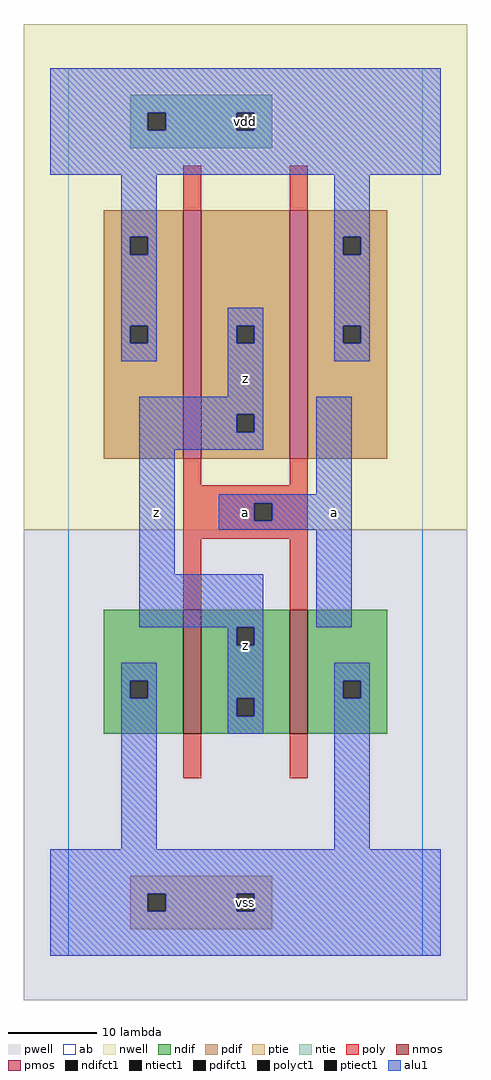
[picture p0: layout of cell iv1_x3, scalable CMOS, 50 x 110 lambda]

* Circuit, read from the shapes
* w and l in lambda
.subckt iv1_x3 a vdd vss z
M1 z a vss vss nfet w=14 l=2 m=2
M2 z a vdd vdd pfet w=28 l=2 m=2
.ends

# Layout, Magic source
magic
tech scmos
<< ab >>
rect 0 0 40 100
<< nwell >>
rect -5 48 45 105
<< pwell >>
rect -5 -5 45 48
<< poly >>
rect 13 84 15 89
rect 25 84 27 89
rect 13 53 15 56
rect 25 53 27 56
rect 13 51 27 53
rect 13 49 21 51
rect 23 49 27 51
rect 13 47 27 49
rect 13 39 15 47
rect 25 39 27 47
rect 13 20 15 25
rect 25 20 27 25
<< ndif >>
rect 4 31 13 39
rect 4 29 7 31
rect 9 29 13 31
rect 4 25 13 29
rect 15 37 25 39
rect 15 35 19 37
rect 21 35 25 37
rect 15 29 25 35
rect 15 27 19 29
rect 21 27 25 29
rect 15 25 25 27
rect 27 31 36 39
rect 27 29 31 31
rect 33 29 36 31
rect 27 25 36 29
<< pdif >>
rect 4 81 13 84
rect 4 79 7 81
rect 9 79 13 81
rect 4 71 13 79
rect 4 69 7 71
rect 9 69 13 71
rect 4 56 13 69
rect 15 71 25 84
rect 15 69 19 71
rect 21 69 25 71
rect 15 61 25 69
rect 15 59 19 61
rect 21 59 25 61
rect 15 56 25 59
rect 27 81 36 84
rect 27 79 31 81
rect 33 79 36 81
rect 27 71 36 79
rect 27 69 31 71
rect 33 69 36 71
rect 27 56 36 69
<< alu1 >>
rect -2 95 42 100
rect -2 93 9 95
rect 11 93 19 95
rect 21 93 42 95
rect -2 88 42 93
rect 6 81 10 88
rect 6 79 7 81
rect 9 79 10 81
rect 6 71 10 79
rect 30 81 34 88
rect 30 79 31 81
rect 33 79 34 81
rect 6 69 7 71
rect 9 69 10 71
rect 6 67 10 69
rect 18 71 22 73
rect 18 69 19 71
rect 21 69 22 71
rect 18 63 22 69
rect 30 71 34 79
rect 30 69 31 71
rect 33 69 34 71
rect 30 67 34 69
rect 8 61 22 63
rect 8 59 19 61
rect 21 59 22 61
rect 8 57 22 59
rect 8 43 12 57
rect 28 52 32 63
rect 17 51 32 52
rect 17 49 21 51
rect 23 49 32 51
rect 17 48 32 49
rect 8 37 22 43
rect 28 37 32 48
rect 18 35 19 37
rect 21 35 22 37
rect 6 31 10 33
rect 6 29 7 31
rect 9 29 10 31
rect 6 12 10 29
rect 18 29 22 35
rect 18 27 19 29
rect 21 27 22 29
rect 18 25 22 27
rect 30 31 34 33
rect 30 29 31 31
rect 33 29 34 31
rect 30 12 34 29
rect -2 7 42 12
rect -2 5 9 7
rect 11 5 19 7
rect 21 5 42 7
rect -2 0 42 5
<< ptie >>
rect 7 7 23 9
rect 7 5 9 7
rect 11 5 19 7
rect 21 5 23 7
rect 7 3 23 5
<< ntie >>
rect 7 95 23 97
rect 7 93 9 95
rect 11 93 19 95
rect 21 93 23 95
rect 7 91 23 93
<< nmos >>
rect 13 25 15 39
rect 25 25 27 39
<< pmos >>
rect 13 56 15 84
rect 25 56 27 84
<< polyct1 >>
rect 21 49 23 51
<< ndifct1 >>
rect 7 29 9 31
rect 19 35 21 37
rect 19 27 21 29
rect 31 29 33 31
<< ntiect1 >>
rect 9 93 11 95
rect 19 93 21 95
<< ptiect1 >>
rect 9 5 11 7
rect 19 5 21 7
<< pdifct1 >>
rect 7 79 9 81
rect 7 69 9 71
rect 19 69 21 71
rect 19 59 21 61
rect 31 79 33 81
rect 31 69 33 71
<< labels >>
rlabel alu1 10 50 10 50 6 z
rlabel ptiect1 20 6 20 6 6 vss
rlabel alu1 20 35 20 35 6 z
rlabel alu1 20 50 20 50 6 a
rlabel alu1 20 65 20 65 6 z
rlabel ntiect1 20 94 20 94 6 vdd
rlabel alu1 30 50 30 50 6 a
<< end >>
